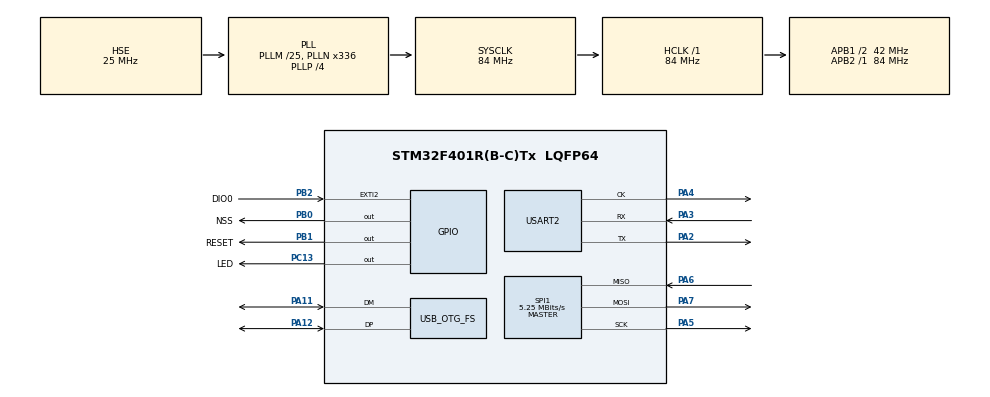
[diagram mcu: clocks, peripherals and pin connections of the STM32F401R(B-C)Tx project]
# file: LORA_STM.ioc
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Mcu.Family=STM32F4
Mcu.Name=STM32F401R(B-C)Tx
Mcu.Package=LQFP64
NVIC.EXTI2_IRQn=true\:0\:0\:false\:false\:true\:true\:true\:true
NVIC.OTG_FS_IRQn=true\:0\:0\:false\:false\:true\:false\:true\:true
NVIC.PriorityGroup=NVIC_PRIORITYGROUP_4
PA11.Mode=Device_Only
PA11.Signal=USB_OTG_FS_DM
PA12.Mode=Device_Only
PA12.Signal=USB_OTG_FS_DP
PA13.Mode=Serial_Wire
PA13.Signal=SYS_JTMS-SWDIO
PA14.Mode=Serial_Wire
PA14.Signal=SYS_JTCK-SWCLK
PA2.Mode=Synchronous
PA2.Signal=USART2_TX
PA3.Mode=Synchronous
PA3.Signal=USART2_RX
PA4.Mode=Synchronous
PA4.Signal=USART2_CK
PA5.Mode=Full_Duplex_Master
PA5.Signal=SPI1_SCK
PA6.Mode=Full_Duplex_Master
PA6.Signal=SPI1_MISO
PA7.Mode=Full_Duplex_Master
PA7.Signal=SPI1_MOSI
PB0.GPIO_Label=NSS
PB0.PinState=GPIO_PIN_SET
PB0.Signal=GPIO_Output
PB1.GPIO_Label=RESET
PB1.PinState=GPIO_PIN_SET
PB1.Signal=GPIO_Output
PB2.GPIO_Label=DIO0
PB2.Signal=GPXTI2
PC13-ANTI_TAMP.GPIO_Label=LED
PC13-ANTI_TAMP.PinState=GPIO_PIN_SET
PC13-ANTI_TAMP.Signal=GPIO_Output
PH0\ -\ OSC_IN.Mode=HSE-External-Oscillator
PH0\ -\ OSC_IN.Signal=RCC_OSC_IN
PH1\ -\ OSC_OUT.Mode=HSE-External-Oscillator
PH1\ -\ OSC_OUT.Signal=RCC_OSC_OUT
ProjectManager.HeapSize=0x200
ProjectManager.StackSize=0x400
ProjectManager.TargetToolchain=STM32CubeIDE
RCC.48MHZClocksFreq_Value=48000000
RCC.AHBFreq_Value=84000000
RCC.APB1CLKDivider=RCC_HCLK_DIV2
RCC.APB1Freq_Value=42000000
RCC.APB1TimFreq_Value=84000000
RCC.APB2Freq_Value=84000000
RCC.APB2TimFreq_Value=84000000
RCC.CortexFreq_Value=84000000
RCC.HCLKFreq_Value=84000000
RCC.HSE_VALUE=25000000
RCC.HSI_VALUE=16000000
RCC.LSE_VALUE=32768
RCC.PLLM=25
RCC.PLLN=336
RCC.PLLP=RCC_PLLP_DIV4
RCC.PLLQ=7
RCC.SYSCLKFreq_VALUE=84000000
RCC.SYSCLKSource=RCC_SYSCLKSOURCE_PLLCLK
RCC.VCOOutputFreq_Value=336000000
SPI1.BaudRatePrescaler=SPI_BAUDRATEPRESCALER_16
SPI1.CalculateBaudRate=5.25 MBits/s
SPI1.Direction=SPI_DIRECTION_2LINES
SPI1.Mode=SPI_MODE_MASTER
SPI1.VirtualType=VM_MASTER
USART2.VirtualMode=VM_SYNC
USB_DEVICE.CLASS_NAME_FS=CDC
USB_DEVICE.VirtualMode=Cdc
USB_DEVICE.VirtualModeFS=Cdc_FS
USB_OTG_FS.VirtualMode=Device_Only
VP_CRC_VS_CRC.Mode=CRC_Activate
VP_USB_DEVICE_VS_USB_DEVICE_CDC_FS.Mode=CDC_FS
board=custom

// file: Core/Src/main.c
/* USER CODE BEGIN Header */
/**
 **************************
 * @file           : main.c
 * @brief          : Main program body
 **************************
 * @attention
 *
 * Copyright (c) 2025 STMicroelectronics.
 * All rights reserved.
 *
 * This software is licensed under terms that can be found in the LICENSE file
 * in the root directory of this software component.
 * If no LICENSE file comes with this software, it is provided AS-IS.
 *
 **************************
 */
/* USER CODE END Header */
#include "main.h"
#include "usb_device.h"

/* USER CODE BEGIN Includes */
#include "lora_config.h"
#include "crc_calculator.h"
#include "ack_handler.h"
#include "SX1278.h"
#include "usbd_cdc_if.h"
#include <string.h>
#include <stdio.h>
#include <stdint.h>

/* USER CODE END Includes */

CRC_HandleTypeDef hcrc;

SPI_HandleTypeDef hspi1;

USART_HandleTypeDef husart2;

/* USER CODE BEGIN PV */
LoRa myLoRa;
uint8_t rxBuffer[128];
uint8_t loraRxBuffer[128];
uint8_t receivedFlag = 0;
char buffer[256];
/* USER CODE END PV */

void SystemClock_Config(void);
static void MX_GPIO_Init(void);
static void MX_CRC_Init(void);
static void MX_SPI1_Init(void);
static void MX_USART2_Init(void);
/* USER CODE BEGIN PFP */
void HAL_GPIO_EXTI_Callback(uint16_t GPIO_Pin);
/* USER CODE END PFP */

/* USER CODE BEGIN 0 */
uint32_t extract_crc_from_buffer(uint8_t *loraRxBuffer, uint8_t rxSize) {
    uint32_t crcValue = 0;

    // If there are enough bytes in the buffer to extract the CRC (4 bytes for 32-bit CRC)
    if (rxSize >= 4) {
        // Extract the last 4 bytes and form a 32-bit CRC value (big-endian)
    	uint32_t temp = loraRxBuffer[rxSize - 4];
        crcValue = ((uint32_t) loraRxBuffer[rxSize - 4] << 24) |
                   ((uint32_t) loraRxBuffer[rxSize - 3] << 16) |
                   ((uint32_t) loraRxBuffer[rxSize - 2] << 8) |
                   loraRxBuffer[rxSize - 1];
    }
    return crcValue;
}

/* USER CODE END 0 */

int main(void) {

	/* MCU Configuration--------------------------------------------------------*/

	/* Reset of all peripherals, Initializes the Flash interface and the Systick. */
	HAL_Init();

	/* Configure the system clock */
	SystemClock_Config();

	/* Initialize all configured peripherals */
	MX_GPIO_Init();
	MX_CRC_Init();
	MX_SPI1_Init();
	MX_USART2_Init();
	MX_USB_DEVICE_Init();
	/* USER CODE BEGIN 2 */

	// Initialize LoRa using the function from lora_config.c
	LoRa_Init();

	// Start LoRa receiving
	LoRa_startReceiving(&myLoRa);

	/* USER CODE END 2 */

	/* Infinite loop */
	while (1) {

		/* USER CODE BEGIN 3 */
		if (receivedFlag) {
			receivedFlag = 0;
			uint8_t rxSize = LoRa_receive(&myLoRa, loraRxBuffer,
					sizeof(loraRxBuffer));

			if (rxSize > 0) {
				uint8_t dataLength = rxSize - 10;
				if (dataLength <= 0) {
					send_ack(false);
				} else {
					// Extract the main message
					uint8_t mainMessage[dataLength];
					memcpy(mainMessage, loraRxBuffer, dataLength);

					// Extract CRC (32-bit value from buffer)
					uint32_t receivedCrc = extract_crc_from_buffer(loraRxBuffer, dataLength);
					// Calculate expected CRC using only the main message
					uint32_t expectedCrc = Calculate_CRC(mainMessage,
							dataLength);

					// Format and transmit received CRC
					char formattedMessage_rx_crc[256];
					snprintf(formattedMessage_rx_crc,
							sizeof(formattedMessage_rx_crc),
							"Received CRC: 0x%08X\r\n",
							(unsigned int) receivedCrc);
					CDC_Transmit_FS((uint8_t*) formattedMessage_rx_crc,
							strlen(formattedMessage_rx_crc));
					HAL_Delay(200);

					// Format and transmit expected CRC
					char formattedMessage_tx_crc[256];
					snprintf(formattedMessage_tx_crc,
							sizeof(formattedMessage_tx_crc),
							"Expected CRC: 0x%08X\r\n",
							(unsigned int) expectedCrc);
					CDC_Transmit_FS((uint8_t*) formattedMessage_tx_crc,
							strlen(formattedMessage_tx_crc));

					// Compare CRCs
					if (receivedCrc == expectedCrc) {
						HAL_Delay(200);
						CDC_Transmit_FS((uint8_t*) "Test Point",
								strlen("Test Point"));
						send_ack(true);
					} else {
						send_ack(false);
					}

					// Print the main message
					char tempBuffer[256];
					for (int i = 0; i < dataLength; i++) {
						if (mainMessage[i] >= 32 && mainMessage[i] <= 126) {
							tempBuffer[i] = mainMessage[i];
						} else {
							tempBuffer[i] = '.';
						}
					}
					tempBuffer[dataLength] = '\0';

					char formattedMessage[256];
					size_t maxLen = sizeof(formattedMessage) - 21; // 256 - 21 = 235
					snprintf(formattedMessage, sizeof(formattedMessage),
							"Received message: %.*s\r\n", (int) maxLen,
							tempBuffer);
					CDC_Transmit_FS((uint8_t*) formattedMessage,
							strlen(formattedMessage));
				}
			} else {
				send_ack(false);
			}

			// Add a small delay before starting to receive again
			HAL_Delay(100);

			LoRa_startReceiving(&myLoRa);
		}

		HAL_Delay(10);
		/* USER CODE END 3 */
	}
}

void SystemClock_Config(void) {
	RCC_OscInitTypeDef RCC_OscInitStruct = { 0 };
	RCC_ClkInitTypeDef RCC_ClkInitStruct = { 0 };

	/** Configure the main internal regulator output voltage
	 */
	__HAL_RCC_PWR_CLK_ENABLE();
	__HAL_PWR_VOLTAGESCALING_CONFIG(PWR_REGULATOR_VOLTAGE_SCALE2);

	/** Initializes the RCC Oscillators according to the specified parameters
	 * in the RCC_OscInitTypeDef structure.
	 */
	RCC_OscInitStruct.OscillatorType = RCC_OSCILLATORTYPE_HSE;
	RCC_OscInitStruct.HSEState = RCC_HSE_ON;
	RCC_OscInitStruct.PLL.PLLState = RCC_PLL_ON;
	RCC_OscInitStruct.PLL.PLLSource = RCC_PLLSOURCE_HSE;
	RCC_OscInitStruct.PLL.PLLM = 25;
	RCC_OscInitStruct.PLL.PLLN = 336;
	RCC_OscInitStruct.PLL.PLLP = RCC_PLLP_DIV4;
	RCC_OscInitStruct.PLL.PLLQ = 7;
	if (HAL_RCC_OscConfig(&RCC_OscInitStruct) != HAL_OK) {
		Error_Handler();
	}

	/** Initializes the CPU, AHB and APB buses clocks
	 */
	RCC_ClkInitStruct.ClockType = RCC_CLOCKTYPE_HCLK | RCC_CLOCKTYPE_SYSCLK
			| RCC_CLOCKTYPE_PCLK1 | RCC_CLOCKTYPE_PCLK2;
	RCC_ClkInitStruct.SYSCLKSource = RCC_SYSCLKSOURCE_PLLCLK;
	RCC_ClkInitStruct.AHBCLKDivider = RCC_SYSCLK_DIV1;
	RCC_ClkInitStruct.APB1CLKDivider = RCC_HCLK_DIV2;
	RCC_ClkInitStruct.APB2CLKDivider = RCC_HCLK_DIV1;

	if (HAL_RCC_ClockConfig(&RCC_ClkInitStruct, FLASH_LATENCY_2) != HAL_OK) {
		Error_Handler();
	}
}

static void MX_CRC_Init(void) {

	hcrc.Instance = CRC;
	if (HAL_CRC_Init(&hcrc) != HAL_OK) {
		Error_Handler();
	}
}

static void MX_SPI1_Init(void) {

	hspi1.Instance = SPI1;
	hspi1.Init.Mode = SPI_MODE_MASTER;
	hspi1.Init.Direction = SPI_DIRECTION_2LINES;
	hspi1.Init.DataSize = SPI_DATASIZE_8BIT;
	hspi1.Init.CLKPolarity = SPI_POLARITY_LOW;
	hspi1.Init.CLKPhase = SPI_PHASE_1EDGE;
	hspi1.Init.NSS = SPI_NSS_SOFT;
	hspi1.Init.BaudRatePrescaler = SPI_BAUDRATEPRESCALER_16;
	hspi1.Init.FirstBit = SPI_FIRSTBIT_MSB;
	hspi1.Init.TIMode = SPI_TIMODE_DISABLE;
	hspi1.Init.CRCCalculation = SPI_CRCCALCULATION_DISABLE;
	hspi1.Init.CRCPolynomial = 10;
	if (HAL_SPI_Init(&hspi1) != HAL_OK) {
		Error_Handler();
	}
}

static void MX_USART2_Init(void) {

	husart2.Instance = USART2;
	husart2.Init.BaudRate = 115200;
	husart2.Init.WordLength = USART_WORDLENGTH_8B;
	husart2.Init.StopBits = USART_STOPBITS_1;
	husart2.Init.Parity = USART_PARITY_NONE;
	husart2.Init.Mode = USART_MODE_TX_RX;
	husart2.Init.CLKPolarity = USART_POLARITY_LOW;
	husart2.Init.CLKPhase = USART_PHASE_1EDGE;
	husart2.Init.CLKLastBit = USART_LASTBIT_DISABLE;
	if (HAL_USART_Init(&husart2) != HAL_OK) {
		Error_Handler();
	}
}

static void MX_GPIO_Init(void) {
	GPIO_InitTypeDef GPIO_InitStruct = { 0 };

	/* GPIO Ports Clock Enable */
	__HAL_RCC_GPIOC_CLK_ENABLE();
	__HAL_RCC_GPIOH_CLK_ENABLE();
	__HAL_RCC_GPIOA_CLK_ENABLE();
	__HAL_RCC_GPIOB_CLK_ENABLE();

	/*Configure GPIO pin Output Level */
	HAL_GPIO_WritePin(LED_GPIO_Port, LED_Pin, GPIO_PIN_SET);

	/*Configure GPIO pin Output Level */
	HAL_GPIO_WritePin(GPIOB, NSS_Pin | RESET_Pin, GPIO_PIN_SET);

	/*Configure GPIO pin : LED_Pin */
	GPIO_InitStruct.Pin = LED_Pin;
	GPIO_InitStruct.Mode = GPIO_MODE_OUTPUT_PP;
	GPIO_InitStruct.Pull = GPIO_NOPULL;
	GPIO_InitStruct.Speed = GPIO_SPEED_FREQ_LOW;
	HAL_GPIO_Init(LED_GPIO_Port, &GPIO_InitStruct);

	/*Configure GPIO pins : NSS_Pin RESET_Pin */
	GPIO_InitStruct.Pin = NSS_Pin | RESET_Pin;
	GPIO_InitStruct.Mode = GPIO_MODE_OUTPUT_PP;
	GPIO_InitStruct.Pull = GPIO_NOPULL;
	GPIO_InitStruct.Speed = GPIO_SPEED_FREQ_LOW;
	HAL_GPIO_Init(GPIOB, &GPIO_InitStruct);

	/*Configure GPIO pin : DIO0_Pin */
	GPIO_InitStruct.Pin = DIO0_Pin;
	GPIO_InitStruct.Mode = GPIO_MODE_IT_RISING;
	GPIO_InitStruct.Pull = GPIO_NOPULL;
	HAL_GPIO_Init(DIO0_GPIO_Port, &GPIO_InitStruct);

	/* EXTI interrupt init*/
	HAL_NVIC_SetPriority(EXTI2_IRQn, 0, 0);
	HAL_NVIC_EnableIRQ(EXTI2_IRQn);

}

/* USER CODE BEGIN 4 */
void HAL_GPIO_EXTI_Callback(uint16_t GPIO_Pin) {
	if (GPIO_Pin == myLoRa.DIO0_pin) {
		// This indicates a packet has been received
		// We'll handle it in the main loop
		receivedFlag = 1;
	}
}

/* USER CODE END 4 */

void Error_Handler(void) {
	/* USER CODE BEGIN Error_Handler_Debug */
	/* User can add his own implementation to report the HAL error return state */
	__disable_irq();
	while (1) {
		HAL_GPIO_TogglePin(LED_GPIO_Port, LED_Pin);
		HAL_Delay(200);
	}
	/* USER CODE END Error_Handler_Debug */
}
